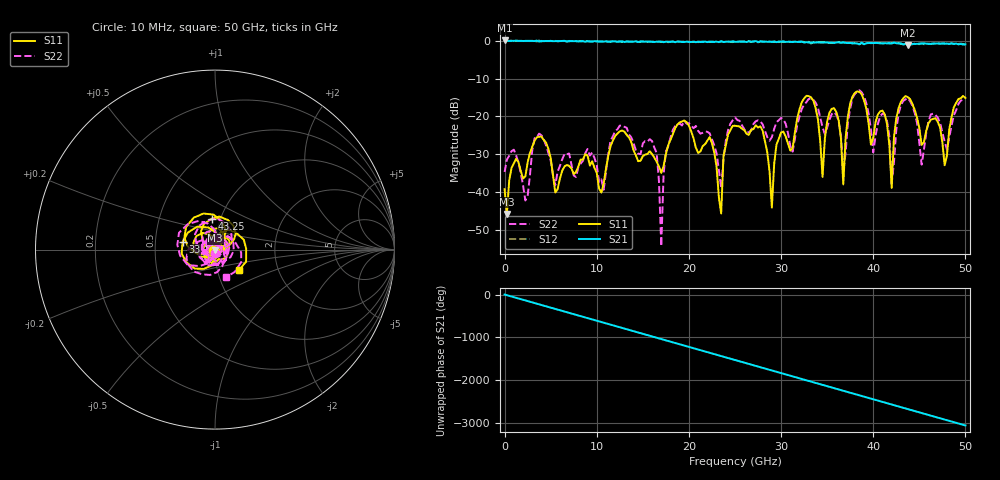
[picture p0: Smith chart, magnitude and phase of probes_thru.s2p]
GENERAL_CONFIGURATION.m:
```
%% GENERAL USER CONFIGURATION FILE 

%% OPERATIONAL PARAMETERS 

%set these 
freq = linspace(6,14,31);           %list of frequency points to run over
power= 0:1:25;                      %available source power to sweep over

%amplifier biasing conditions 
AUTO_BIAS_AMPLIFIER = true;         %change to false if you want to autobias the amplifier

%Robust mode (if driver compresses over part of the band)
ROBUST_MODE             = false;    %return sweep power to lower limit, and blacklist frequencies where driver is saturated (don't error out)
ROBUST_MODE_POW_SWITCH  = 20;       %power level that will trigger robust mode. (type in inf if you don't want this to trigger)

%main loop parameters
powStepInit                     = 1;                      %dBm (nominal power step size when searching for Pavs) 
powInitOffset                   = -40;                    %dBm (power to offset by at the beginning of each frequency sweep--make this enough to cancel out driver gain.)
powInitSweep                    = -2;                     %dBm (power to offset from power found at prior frequency)
powTolerance                    = 0.05;                   %dBm (search tolerance)
powSettleTime                   = 0.5;                    %time between loops 
maxRfSourcePower                = 10;                     %power limit where driver will be damaged
TURN_SRC_PWR_OFF_BETWEEN_FREQS = false;                   %turn the source power off between sweeps
%% CALIBRATION PARAMETERS 

%location for probes 
PROBE_FP = ['C:\Users\W-band\Documents\Paul\ScalarPowerCal_Char\Thru' ...
            '\probes_thru.s2p']; 

% INPUT_OFFSET_FP = 
% OUTPUT_OFFSET_FP = 

%% PLOTTING PARAMETERS 

PLOT_RESULTS                    = true;
```
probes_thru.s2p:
!Agilent Technologies,E8364C,MY43040861,A.09.42.22
!Agilent E8364C: A.09.42.22
!Date: Tuesday, October 31, 2023 13:58:35
!Correction: S11(Full 2 Port(1,2))
!S21(Full 2 Port(1,2))
!S12(Full 2 Port(1,2))
!S22(Full 2 Port(1,2))
!S2P File: Measurements: S11, S21, S12, S22:
# Hz S  RI  R 50
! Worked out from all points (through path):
!   201 points, 10 MHz to 50 GHz, reference 50 ohm
!   highest |S21| = 0.06 dB at 10 MHz (marker M1); lowest = -1.1 dB at 43.75 GHz (marker M2)
!   group delay of S21, straight-line fit = 169 ps
!   lowest |S11| = -45.8 dB at 259.9 MHz (marker M3), VSWR 1.01, Z = 50.1 - j0.502 ohm
!   |S11| at or under -10 dB: start of sweep to end of sweep
!   |S22| runs from -54.3 to -13.1 dB; largest |S21 - S12| = 0.044
!   S11 on the Smith chart (normalised r, x): 10 MHz: 0.98, -0.00; 33 GHz: 0.69, +0.06; 43.25 GHz: 0.91, +0.32; 50 GHz: 1.26, -0.30
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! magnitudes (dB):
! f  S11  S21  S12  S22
! 10 MHz  -39.2  0.1  0.0  -34.7
! 259.9 MHz  -45.8  0.0  0.0  -31.4
! 15.76 GHz  -29.2  -0.3  -0.2  -26.0
! 17.01 GHz  -34.9  -0.2  -0.3  -54.3
! 18.26 GHz  -24.7  -0.2  -0.2  -23.6
! 25 GHz  -22.5  -0.3  -0.2  -20.2
! 29 GHz  -44.1  -0.3  -0.3  -25.5
! 33 GHz  -14.6  -0.5  -0.3  -15.4
! 43.25 GHz  -15.2  -1.0  -0.9  -15.9
! 43.75 GHz  -14.9  -1.1  -1.0  -15.2
! 50 GHz  -15.1  -1.0  -1.0  -15.6
